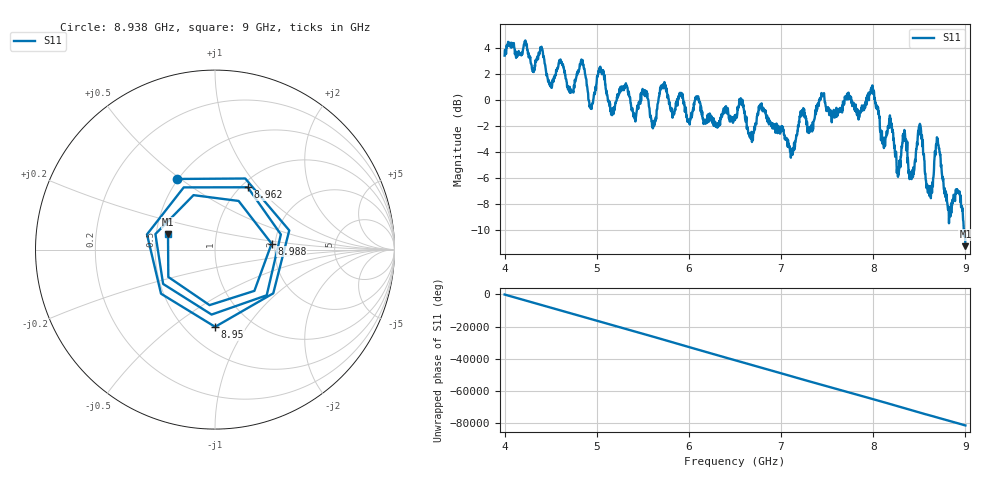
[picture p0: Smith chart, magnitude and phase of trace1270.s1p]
! Created with skrf 1.8.0 (http://scikit-rf.org).
# Hz S RI R 50.0
!freq ReS11 ImS11
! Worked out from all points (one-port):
!   1601 points, 4 GHz to 9 GHz, reference 50 ohm
!   lowest |S11| = -11.2 dB at 9 GHz (marker M1), VSWR 1.76, Z = 28.9 + j5.3 ohm
!   |S11| at or under -10 dB: 8.982173 GHz to 8.987771 GHz (5.598 MHz wide, 0.0623 % of centre); 8.991696 GHz to end of sweep
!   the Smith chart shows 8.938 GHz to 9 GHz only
!   S11 on the Smith chart (normalised r, x): 8.938 GHz: 0.50, +0.49; 8.95 GHz: 0.69, -0.73; 8.962 GHz: 1.07, +0.88; 8.988 GHz: 1.91, +0.14; 9 GHz: 0.58, +0.11
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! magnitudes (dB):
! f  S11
! 4 GHz  3.4
! 4.625 GHz  2.7
! 4.722 GHz  0.6
! 4.844 GHz  2.8
! 4.934 GHz  -0.6
! 5.044 GHz  2.3
! 5.166 GHz  -1.2
! 5.25 GHz  0.9
! 5.612 GHz  -2.1
! 5.712 GHz  1.1
! 5.875 GHz  -0.4
! 6.5 GHz  -1.5
! 6.794 GHz  -0.7
! 7.125 GHz  -4.2
! 7.225 GHz  -1.0
! 7.75 GHz  0.3
! 7.988 GHz  0.8
! 8.106 GHz  -3.0
! 8.375 GHz  -4.4
! 8.506 GHz  -1.8
! 8.603 GHz  -6.9
! 8.703 GHz  -3.3
! 8.822 GHz  -9.4
! 8.938 GHz  -7.0
! 8.95 GHz  -7.3
! 8.962 GHz  -8.1
! 8.988 GHz  -10.0
! 9 GHz  -11.2
